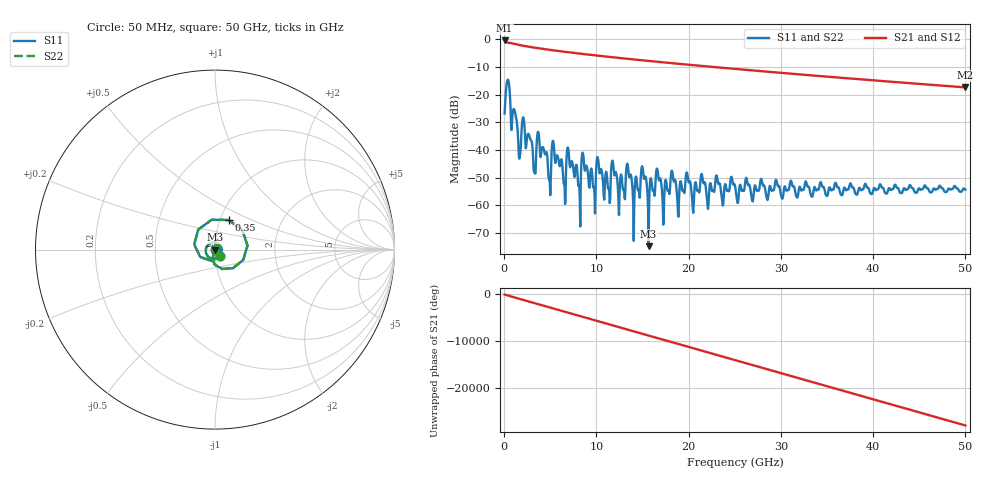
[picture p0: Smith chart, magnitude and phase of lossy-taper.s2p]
# Hz S RI R 50.0
!freq ReS11 ImS11 ReS21 ImS21 ReS12 ImS12 ReS22 ImS22
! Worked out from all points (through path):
!   1000 points, 50 MHz to 50 GHz, reference 50 ohm
!   highest |S21| = -0.42 dB at 50 MHz (marker M1); lowest = -17.4 dB at 50 GHz (marker M2)
!   lowest |S11| = -74.7 dB at 15.65 GHz (marker M3), VSWR 1.00, Z = 50 - j0.018 ohm
!   |S11| at or under -10 dB: start of sweep to end of sweep
!   |S22| runs from -74.7 to -14.6 dB; largest |S21 - S12| = 9.2e-13
!   S11 on the Smith chart (normalised r, x): 50 MHz: 1.06, -0.08; 350 MHz: 1.10, +0.37; 50 GHz: 1.00, -0.00
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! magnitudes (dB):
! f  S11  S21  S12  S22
! 50 MHz  -26.8  -0.4  -0.4  -26.8
! 350 MHz  -14.8  -1.2  -1.2  -14.8
! 1.6 GHz  -42.3  -2.0  -2.0  -42.3
! 2.1 GHz  -28.3  -2.4  -2.4  -28.3
! 3.25 GHz  -48.0  -3.0  -3.0  -48.0
! 3.75 GHz  -34.2  -3.3  -3.3  -34.2
! 4.85 GHz  -50.5  -3.8  -3.8  -50.5
! 5.4 GHz  -38.8  -4.0  -4.0  -38.8
! 6.45 GHz  -52.0  -4.5  -4.5  -52.0
! 7 GHz  -40.8  -4.7  -4.7  -40.8
! 8.4 GHz  -43.3  -5.3  -5.3  -43.3
! 13.5 GHz  -48.5  -7.1  -7.1  -48.5
! 14.2 GHz  -51.1  -7.3  -7.3  -51.1
! 15.1 GHz  -48.9  -7.6  -7.6  -48.9
! 15.65 GHz  -74.7  -7.8  -7.8  -74.7
! 16.7 GHz  -49.2  -8.2  -8.2  -49.2
! 17.2 GHz  -60.2  -8.3  -8.3  -60.2
! 18.3 GHz  -49.5  -8.7  -8.7  -49.5
! 25.05 GHz  -53.3  -10.7  -10.7  -53.3
! 33.35 GHz  -56.8  -13.0  -13.0  -56.8
! 41.7 GHz  -53.8  -15.3  -15.3  -53.8
! 50 GHz  -54.3  -17.4  -17.4  -54.3
